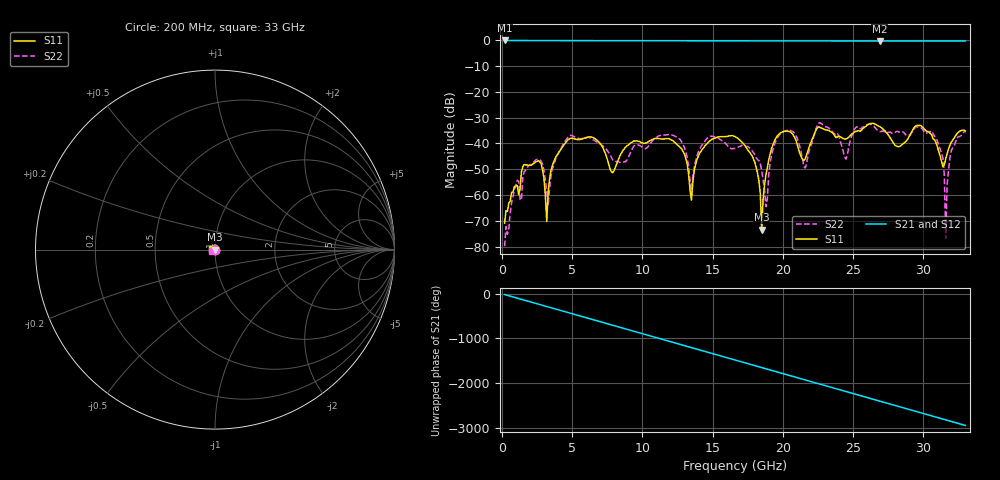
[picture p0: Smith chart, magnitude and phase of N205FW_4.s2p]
# GHZ S RI R 50
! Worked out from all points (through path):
!   329 points, 200 MHz to 33 GHz, reference 50 ohm
!   highest |S21| = -0.02 dB at 200 MHz (marker M1); lowest = -0.3 dB at 26.9 GHz (marker M2)
!   group delay of S21, straight-line fit = 248 ps
!   lowest |S11| = -73.5 dB at 18.5 GHz (marker M3), VSWR 1.00, Z = 50 - j0.0149 ohm
!   |S11| at or under -10 dB: start of sweep to end of sweep
!   |S22| runs from -79.9 to -32.0 dB; largest |S21 - S12| = 0.0022
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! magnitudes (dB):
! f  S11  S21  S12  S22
! 200 MHz  -70.9  0.0  0.0  -79.9
! 1.1 GHz  -56.3  0.0  0.0  -54.3
! 2.7 GHz  -47.1  -0.1  -0.1  -46.3
! 3.2 GHz  -70.3  -0.1  -0.1  -58.6
! 3.7 GHz  -47.0  -0.1  -0.1  -48.1
! 5.7 GHz  -38.3  -0.1  -0.1  -38.1
! 11.2 GHz  -38.2  -0.1  -0.1  -37.0
! 13.5 GHz  -61.9  -0.1  -0.2  -58.2
! 14.7 GHz  -39.5  -0.2  -0.2  -37.5
! 16.6 GHz  -37.3  -0.2  -0.2  -41.9
! 18 GHz  -47.1  -0.2  -0.2  -44.2
! 18.5 GHz  -73.5  -0.2  -0.2  -50.4
! 18.8 GHz  -52.2  -0.2  -0.2  -64.5
! 19.5 GHz  -38.0  -0.2  -0.2  -39.1
! 22.1 GHz  -38.3  -0.2  -0.2  -39.2
! 26.9 GHz  -33.5  -0.3  -0.3  -35.4
! 27.6 GHz  -37.4  -0.3  -0.3  -35.6
! 30.9 GHz  -39.6  -0.2  -0.2  -37.8
! 31.4 GHz  -49.1  -0.2  -0.2  -45.8
! 31.6 GHz  -46.0  -0.2  -0.2  -76.8
! 31.9 GHz  -40.7  -0.2  -0.2  -45.4
! 33 GHz  -35.1  -0.2  -0.2  -35.4
